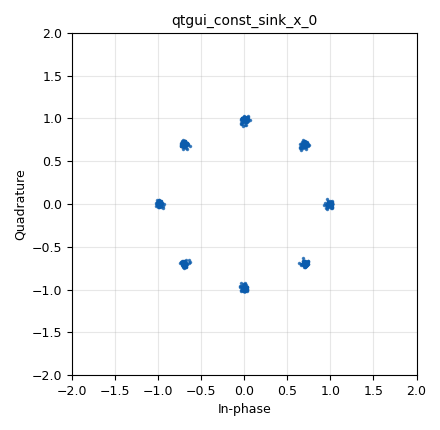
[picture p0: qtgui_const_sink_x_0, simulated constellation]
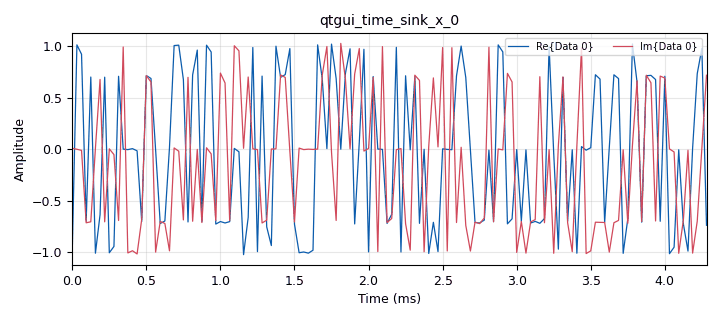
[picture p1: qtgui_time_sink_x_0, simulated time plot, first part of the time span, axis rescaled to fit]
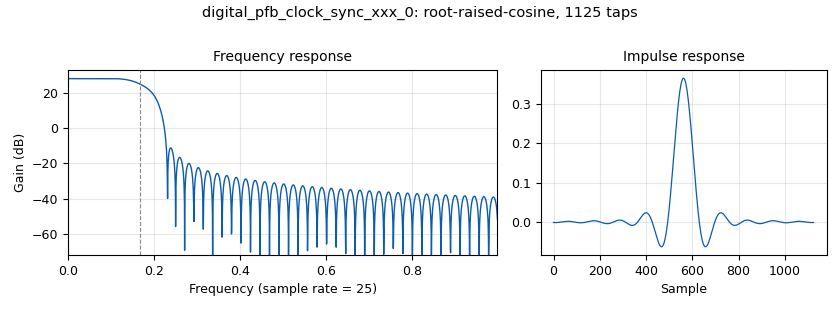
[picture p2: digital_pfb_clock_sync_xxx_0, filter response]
<?xml version='1.0' encoding='utf-8'?>
<?grc format='1' created='3.7.11'?>
<flow_graph>
<block>
<key>options</key>
<param><key>id</key><value>psk8</value></param>
<param><key>generate_options</key><value>qt_gui</value></param>
</block>
<block>
<key>variable</key>
<param><key>id</key><value>nfilts</value></param>
<param><key>value</key><value>25</value></param>
</block>
<block>
<key>variable_constellation</key>
<param><key>id</key><value>psk</value></param>
<param><key>const_points</key><value>[-1-1j, -1+1j, 1+1j, 1-1j, 1.414, -1.414, 1.414j, -1.414j]</value></param>
<param><key>type</key><value>calcdist</value></param>
<param><key>dims</key><value>1</value></param>
<param><key>rot_sym</key><value>4</value></param>
<param><key>precision</key><value>8</value></param>
<param><key>sym_map</key><value>[0, 1, 3, 2, 4, 5, 6, 7]</value></param>
</block>
<block>
<key>variable</key>
<param><key>id</key><value>rrc_taps</value></param>
<param><key>value</key><value>firdes.root_raised_cosine(nfilts, nfilts, 1.0/float(sps), 0.35, 45*nfilts)</value></param>
</block>
<block>
<key>variable</key>
<param><key>id</key><value>samp_rate</value></param>
<param><key>value</key><value>32e3</value></param>
</block>
<block>
<key>variable</key>
<param><key>id</key><value>sps</value></param>
<param><key>value</key><value>3</value></param>
</block>
<block>
<key>variable</key>
<param><key>id</key><value>vec</value></param>
<param><key>value</key><value>[0,1,2,3,4,5,6]</value></param>
</block>
<block>
<key>analog_random_uniform_source_x</key>
<param><key>id</key><value>analog_random_uniform_source_x_0</value></param>
<param><key>maximum</key><value>256</value></param>
<param><key>minimum</key><value>0</value></param>
<param><key>type</key><value>byte</value></param>
<param><key>seed</key><value>0</value></param>
</block>
<block>
<key>blocks_throttle</key>
<param><key>id</key><value>blocks_throttle_0</value></param>
<param><key>samples_per_second</key><value>samp_rate</value></param>
<param><key>type</key><value>byte</value></param>
</block>
<block>
<key>digital_constellation_modulator</key>
<param><key>id</key><value>digital_constellation_modulator_0</value></param>
<param><key>constellation</key><value>psk</value></param>
<param><key>differential</key><value>False</value></param>
<param><key>excess_bw</key><value>.25</value></param>
<param><key>log</key><value>True</value></param>
<param><key>samples_per_symbol</key><value>3</value></param>
<param><key>verbose</key><value>True</value></param>
</block>
<block>
<key>digital_pfb_clock_sync_xxx</key>
<param><key>id</key><value>digital_pfb_clock_sync_xxx_0</value></param>
<param><key>filter_size</key><value>nfilts</value></param>
<param><key>init_phase</key><value>nfilts/2</value></param>
<param><key>loop_bw</key><value>.063</value></param>
<param><key>max_dev</key><value>1.5</value></param>
<param><key>osps</key><value>1</value></param>
<param><key>sps</key><value>sps</value></param>
<param><key>taps</key><value>rrc_taps</value></param>
<param><key>type</key><value>ccf</value></param>
</block>
<block>
<key>qtgui_const_sink_x</key>
<param><key>id</key><value>qtgui_const_sink_x_0</value></param>
<param><key>size</key><value>1024</value></param>
<param><key>type</key><value>complex</value></param>
</block>
<block>
<key>qtgui_time_sink_x</key>
<param><key>id</key><value>qtgui_time_sink_x_0</value></param>
<param><key>color1</key><value>"blue"</value></param>
<param><key>label1</key><value></value></param>
<param><key>color2</key><value>"red"</value></param>
<param><key>label2</key><value></value></param>
<param><key>size</key><value>1024</value></param>
<param><key>srate</key><value>samp_rate</value></param>
<param><key>type</key><value>complex</value></param>
</block>
<connection><source_block_id>analog_random_uniform_source_x_0</source_block_id><sink_block_id>blocks_throttle_0</sink_block_id><source_key>0</source_key><sink_key>0</sink_key></connection>
<connection><source_block_id>blocks_throttle_0</source_block_id><sink_block_id>digital_constellation_modulator_0</sink_block_id><source_key>0</source_key><sink_key>0</sink_key></connection>
<connection><source_block_id>digital_constellation_modulator_0</source_block_id><sink_block_id>digital_pfb_clock_sync_xxx_0</sink_block_id><source_key>0</source_key><sink_key>0</sink_key></connection>
<connection><source_block_id>digital_pfb_clock_sync_xxx_0</source_block_id><sink_block_id>qtgui_const_sink_x_0</sink_block_id><source_key>0</source_key><sink_key>0</sink_key></connection>
<connection><source_block_id>digital_pfb_clock_sync_xxx_0</source_block_id><sink_block_id>qtgui_time_sink_x_0</sink_block_id><source_key>0</source_key><sink_key>0</sink_key></connection>
</flow_graph>
